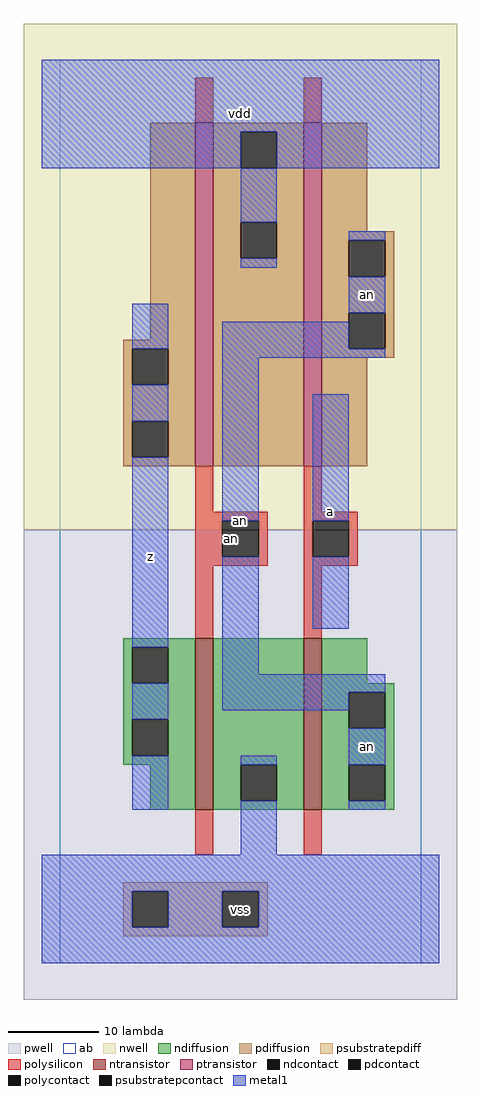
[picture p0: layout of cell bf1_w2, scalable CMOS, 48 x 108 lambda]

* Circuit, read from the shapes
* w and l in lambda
.subckt bf1_w2 a an vdd vss z
M1 vss an z vss nfet w=19 l=2
M2 an a vss vss nfet w=19 l=2
M3 vdd an z n1 pfet w=38 l=2
M4 an a vdd n1 pfet w=38 l=2
.ends

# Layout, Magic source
magic
tech scmos
<< ab >>
rect 0 0 40 100
<< pwell >>
rect -4 -4 44 48
<< nwell >>
rect -4 48 44 104
<< polysilicon >>
rect 15 93 17 98
rect 27 93 29 98
rect 15 50 17 55
rect 27 50 29 55
rect 15 49 23 50
rect 15 45 18 49
rect 22 45 23 49
rect 15 44 23 45
rect 27 49 33 50
rect 27 45 28 49
rect 32 45 33 49
rect 27 44 33 45
rect 15 36 17 44
rect 27 36 29 44
rect 15 12 17 17
rect 27 12 29 17
<< ndiffusion >>
rect 7 35 15 36
rect 7 31 8 35
rect 12 31 15 35
rect 7 27 15 31
rect 7 23 8 27
rect 12 23 15 27
rect 7 22 15 23
rect 10 17 15 22
rect 17 22 27 36
rect 17 18 20 22
rect 24 18 27 22
rect 17 17 27 18
rect 29 31 34 36
rect 29 30 37 31
rect 29 26 32 30
rect 36 26 37 30
rect 29 22 37 26
rect 29 18 32 22
rect 36 18 37 22
rect 29 17 37 18
<< pdiffusion >>
rect 10 69 15 93
rect 7 68 15 69
rect 7 64 8 68
rect 12 64 15 68
rect 7 60 15 64
rect 7 56 8 60
rect 12 56 15 60
rect 7 55 15 56
rect 17 92 27 93
rect 17 88 20 92
rect 24 88 27 92
rect 17 82 27 88
rect 17 78 20 82
rect 24 78 27 82
rect 17 55 27 78
rect 29 81 34 93
rect 29 80 37 81
rect 29 76 32 80
rect 36 76 37 80
rect 29 72 37 76
rect 29 68 32 72
rect 36 68 37 72
rect 29 67 37 68
rect 29 55 34 67
<< metal1 >>
rect -2 92 42 100
rect -2 88 20 92
rect 24 88 42 92
rect 20 82 24 88
rect 20 77 24 78
rect 32 80 36 81
rect 8 68 12 73
rect 32 72 36 76
rect 8 60 12 64
rect 8 35 12 56
rect 8 27 12 31
rect 18 68 32 71
rect 18 67 36 68
rect 18 49 22 67
rect 18 32 22 45
rect 28 49 32 63
rect 28 37 32 45
rect 18 30 36 32
rect 18 28 32 30
rect 8 17 12 23
rect 20 22 24 23
rect 20 12 24 18
rect 32 22 36 26
rect 32 17 36 18
rect -2 8 42 12
rect -2 4 8 8
rect 12 4 18 8
rect 22 4 42 8
rect -2 0 42 4
<< ntransistor >>
rect 15 17 17 36
rect 27 17 29 36
<< ptransistor >>
rect 15 55 17 93
rect 27 55 29 93
<< polycontact >>
rect 18 45 22 49
rect 28 45 32 49
<< ndcontact >>
rect 8 31 12 35
rect 8 23 12 27
rect 20 18 24 22
rect 32 26 36 30
rect 32 18 36 22
<< pdcontact >>
rect 8 64 12 68
rect 8 56 12 60
rect 20 88 24 92
rect 20 78 24 82
rect 32 76 36 80
rect 32 68 36 72
<< psubstratepcontact >>
rect 8 4 12 8
rect 18 4 22 8
<< psubstratepdiff >>
rect 7 8 23 9
rect 7 4 8 8
rect 12 4 18 8
rect 22 4 23 8
rect 7 3 23 4
<< labels >>
rlabel polycontact 19 47 19 47 6 an
rlabel metal1 10 45 10 45 6 z
rlabel psubstratepcontact 20 6 20 6 6 vss
rlabel metal1 20 49 20 49 6 an
rlabel metal1 20 94 20 94 6 vdd
rlabel metal1 34 24 34 24 6 an
rlabel metal1 30 50 30 50 6 a
rlabel metal1 34 74 34 74 6 an
<< end >>
